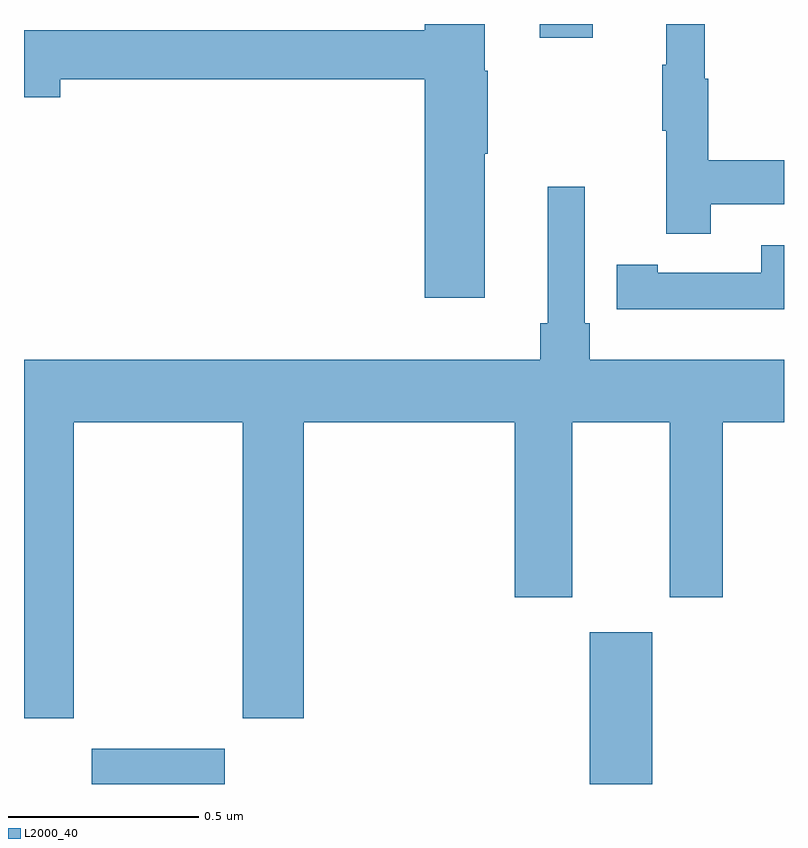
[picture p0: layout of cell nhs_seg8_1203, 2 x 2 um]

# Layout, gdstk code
import gdstk
lib = gdstk.Library(unit=1e-6, precision=1e-09)
def R(c, l, rs):  # rectangles x0, y0, x1, y1
    for r in rs: c.add(gdstk.rectangle(r[:2], r[2:], *l))
def P(c, l, *ps):  # polygons
    for p in ps: c.add(gdstk.Polygon(p, *l))
L2000_40 = (2000, 40)

nhs_seg8_1203 = lib.new_cell('nhs_seg8_1203')
R(nhs_seg8_1203, L2000_40, [(127.178,1096.9,127.528,1096.993), (128.489,1096.9,128.653,1097.299), (128.357,1098.864,128.497,1098.9)])
P(nhs_seg8_1203, L2000_40, [(128.212,1098.559),(128.22,1098.559),(128.22,1098.777),(128.212,1098.777),(128.212,1098.9),(128.054,1098.9),(128.054,1098.883),(127,1098.883),(127,1098.707),(127.096,1098.707),(127.096,1098.754),(128.054,1098.754),(128.054,1098.18),(128.212,1098.18)],
  [(128.807,1098.426),(129,1098.426),(129,1098.542),(128.8,1098.542),(128.8,1098.756),(128.792,1098.756),(128.792,1098.9),(128.69,1098.9),(128.69,1098.793),(128.679,1098.793),(128.679,1098.619),(128.69,1098.619),(128.69,1098.348),(128.807,1098.348)],
  [(127.131,1097.852),(127.576,1097.852),(127.576,1097.073),(127.736,1097.073),(127.736,1097.852),(128.291,1097.852),(128.291,1097.391),(128.443,1097.391),(128.443,1097.852),(128.699,1097.852),(128.699,1097.391),(128.839,1097.391),(128.839,1097.852),(129,1097.852),(129,1098.016),(128.489,1098.016),(128.489,1098.112),(128.475,1098.112),(128.475,1098.472),(128.378,1098.472),(128.378,1098.112),(128.359,1098.112),(128.359,1098.016),(127,1098.016),(127,1097.073),(127.131,1097.073)],
  [(129,1098.318),(128.94,1098.318),(128.94,1098.246),(128.668,1098.246),(128.668,1098.266),(128.56,1098.266),(128.56,1098.15),(128.668,1098.15),(128.668,1098.149),(129,1098.149)])

lib.write_gds('nhs_seg8_1203.gds')
